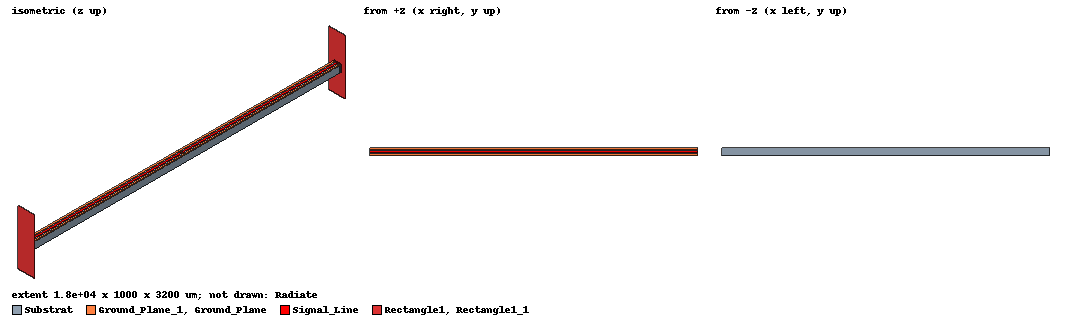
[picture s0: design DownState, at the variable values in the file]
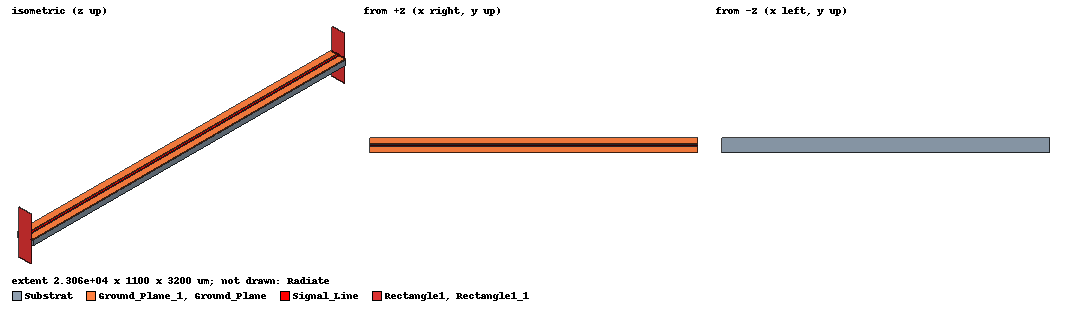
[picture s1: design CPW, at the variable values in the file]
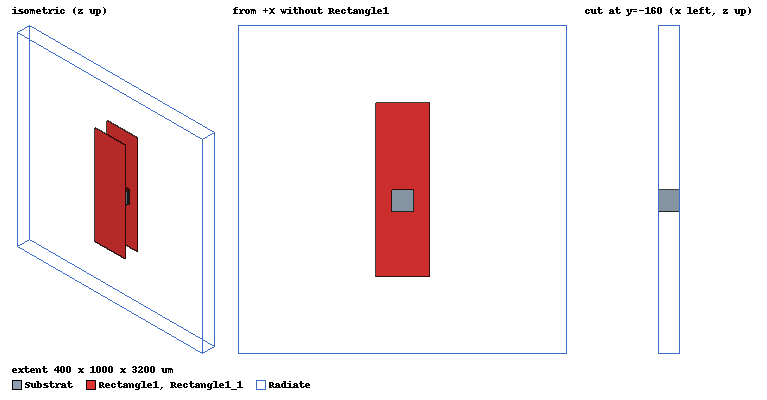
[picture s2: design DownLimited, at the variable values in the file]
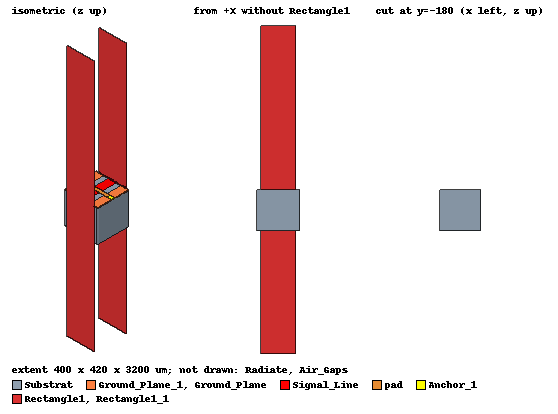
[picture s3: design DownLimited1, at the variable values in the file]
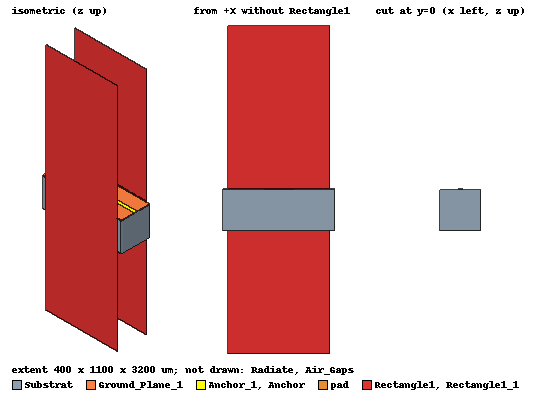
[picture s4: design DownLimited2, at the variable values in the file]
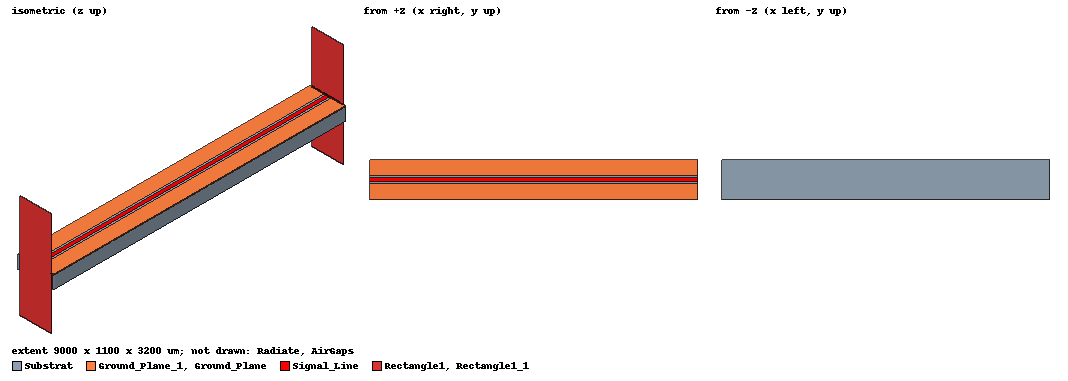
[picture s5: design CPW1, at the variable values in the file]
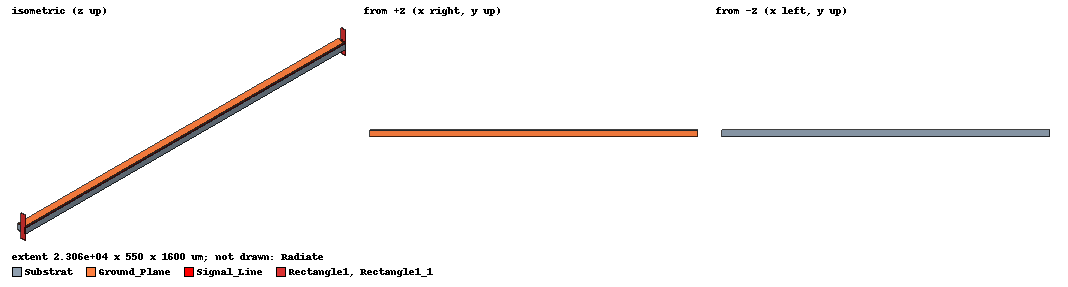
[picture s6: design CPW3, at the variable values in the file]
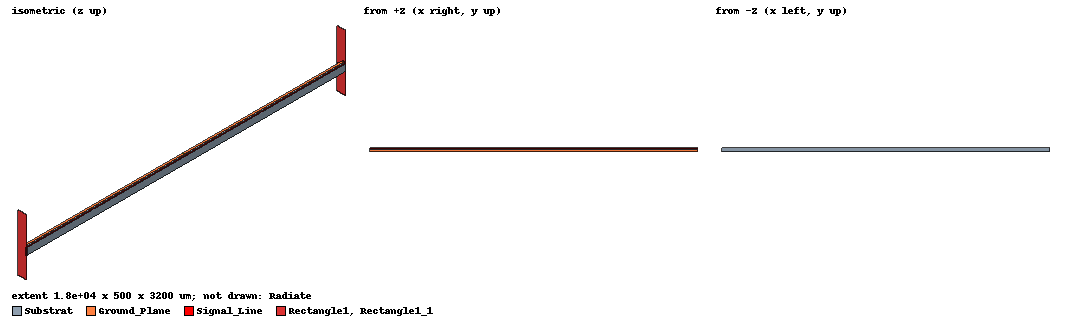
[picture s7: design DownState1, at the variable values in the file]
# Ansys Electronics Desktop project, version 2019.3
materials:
  vacuum: permittivity=1
  silicon: permittivity=11.9
  gold: permeability=0.99996 conductivity=41000000
  air: permittivity=1.0006 permeability=1.0000004
  silicon_nitrate: permittivity=7

design DownState (HFSS, DrivenModal, model units um)
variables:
  h_substrate = 400um
  L_membrane = 300um
  W_anchor = 60um
  W_membrane = 40um
  Anchor_offset = 40um
  Au_thickness = 2um
  W_signal_line = 100um
  g_0 = Dielectric_tickness
  t_membrane = 2um
  pay = Dielectric_tickness
  Dielectric_tickness = 150nm
  L_line = 18000um
  Model_Width = L_membrane+2*W_anchor
  w_pad = 40um
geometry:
  Substrat [silicon] = box(corner=(-L_line/2, -(L_membrane+2*W_anchor)/2, 0um), size=(L_line, (L_membrane+2*W_anchor), -h_substrate))
  Ground_Plane [gold] = box(corner=(-L_line/2, -(L_membrane+2*W_anchor)/2, 0um), size=(L_line, Anchor_offset+W_anchor, 2um))
  Ground_Plane_1 [gold] = Ground_Plane.duplicate_around_axis(axis=Z, angle=180deg, total=2)
  Signal_Line [gold] = box(corner=(-L_line/2, -W_signal_line/2, 0um), size=(L_line, W_signal_line, Au_thickness))
  Anchor [gold] = box(corner=(-W_membrane/2, -(L_membrane+2*W_anchor)/2, Au_thickness), size=(W_membrane, W_anchor, g_0+ t_membrane))
  Anchor_1 [gold] = Anchor.duplicate_around_axis(axis=Z, angle=180deg, total=2)
  membrane = box(corner=(-W_membrane/2, -L_membrane/2, g_0+t_membrane+Au_thickness), size=(W_membrane, L_membrane, -2um))
  Dielectric [silicon_nitrate] = box(corner=(-w_pad/2, -(W_signal_line/2+pay), Au_thickness+Dielectric_tickness), size=(w_pad, W_signal_line + 2*pay, -(Dielectric_tickness+Au_thickness)))
  Signal_Line_1 = Signal_Line.copy()
  Dielectric.subtract(Signal_Line_1)
  Rectangle1 = rectangle(corner=(L_line/2, -W_signal_line*5, -4*h_substrate), y_size=10*W_signal_line, z_size=8*h_substrate)
  Rectangle1_1 = Rectangle1.duplicate_around_axis(axis=Z, angle=180deg, total=2)
  Radiate [air] = box(corner=(-L_line/2, -3000um, 3000um), size=(L_line, 6000um, -6000um))
  pad [gold] = box(corner=(-w_pad/2, -W_signal_line/2, g_0+t_membrane+Au_thickness), size=(w_pad, W_signal_line, -t_membrane))
  pad.unite(membrane)
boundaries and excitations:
  OpenCircuit: Perfect H Faces=Radiate.face(+x, -x)
  Absorber: Radiation Faces=Radiate.face(-y, +z, +y, -z)
  P1: Wave Port Objects=Rectangle1 NumModes=1 RenormalizeAllTerminals=false Modes{Mode1{CharImp=Zpi}}
  P2: Wave Port Objects=Rectangle1_1 NumModes=1 Modes{Mode1{CharImp=Zpi}}
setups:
  Setup1: HfssDriven Frequency=26GHz MaxDeltaS=0.001 MaximumPasses=10 MinimumPasses=1 MinimumConvergedPasses=1 PercentRefinement=30 BasisOrder=1 PortAccuracy=2
    sweep Sweep: 20GHz to 90GHz, 20 points; Type=Interpolating InterpTolerance=0.5 InterpMaxSolns=250 InterpUsePortImped=false PassivityErrorTolerance=0.0001
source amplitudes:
  P1:1: 1W 0deg
  P2:1: 0W 0deg
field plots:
  Mag_Jsurf1: Jsurf over Signal_Line.face(all 6) on Setup1 : LastAdaptive at Freq=26GHz Phase=0deg
  Mag_E1: E Field in Radiate on Setup1 : LastAdaptive at Freq=26GHz Phase=0deg
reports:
  S Parameter Plot 1: dB(S(P2,P1)), re(Zo(P1)), GroupDelay(P2,P1) vs Freq on Setup1 : Sweep
  Group Delay Plot 1: ang_rad(GroupDelay(P2,P1)) vs Freq on Setup1 : Sweep

design CPW (HFSS, DrivenModal, model units um)
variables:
  h_substrate = 400um
  L_membrane = W_signal_line+2*(W_Gap+Anchor_offset)
  W_anchor = 400um
  Anchor_offset = 40um
  Au_thickness = 2um
  W_signal_line = 100um
  L_line = 2*Lambda
  Model_Width = L_membrane+2*W_anchor
  W_Gap = 60um
  Lambda = 11530479nm
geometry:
  Substrat [silicon] = box(corner=(-L_line/2, -(L_membrane+2*W_anchor)/2, 0um), size=(L_line, (L_membrane+2*W_anchor), -h_substrate))
  Ground_Plane [gold] = box(corner=(-L_line/2, -(L_membrane+2*W_anchor)/2, 0um), size=(L_line, Anchor_offset+W_anchor, 2um))
  Ground_Plane_1 [gold] = Ground_Plane.duplicate_around_axis(axis=Z, angle=180deg, total=2)
  Signal_Line [gold] = box(corner=(-L_line/2, -W_signal_line/2, 0um), size=(L_line, W_signal_line, Au_thickness))
  Rectangle1 = rectangle(corner=(L_line/2, -W_signal_line*5, -4*h_substrate), y_size=W_signal_line*10, z_size=8*h_substrate)
  Rectangle1_1 = Rectangle1.duplicate_around_axis(axis=Z, angle=180deg, total=2)
  Radiate [air] = box(corner=(-L_line/2, -Lambda/8, -Lambda/8), size=(L_line, Lambda/4, Lambda/4))
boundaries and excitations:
  Rad1: Radiation Faces=Radiate.face(+y, +z, -y, -z)
  PerfH1: Perfect H Faces=Radiate.face(+x, -x)
  P1: Wave Port Objects=Rectangle1 NumModes=1 RenormalizeAllTerminals=false Modes{Mode1{CharImp=Zpi}}
  P2: Wave Port Objects=Rectangle1_1 NumModes=1 Modes{Mode1{CharImp=Zpi}}
  reference conductors: Signal_Line, Ground_Plane, Ground_Plane_1
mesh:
  initial mesh: GlobalSurfApproximation{CurvedSurfaceApproxChoice=UseSlider SliderMeshSettings=6}
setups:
  Setup1: HfssDriven Frequency=26GHz MaxDeltaS=0.001 MaximumPasses=10 MinimumPasses=1 MinimumConvergedPasses=1 PercentRefinement=30 BasisOrder=1 PortAccuracy=2
    sweep Sweep: 13GHz to 39GHz, 20 points; Type=Interpolating InterpTolerance=0.5 InterpMaxSolns=250 InterpUsePortImped=false PassivityErrorTolerance=0.0001
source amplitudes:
  P1:1: 0 0deg
  P2:1: 1W 0deg
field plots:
  Mag_E1: E Field in Radiate on Setup1 : LastAdaptive at Freq=26GHz Phase=0deg
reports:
  Z Parameter Plot 1: mag(Z(P1,P2)) vs Freq on Setup1 : Sweep

design DownLimited (HFSS, DrivenModal, model units um)
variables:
  h_substrate = 400um
  L_membrane = 300um
  W_anchor = 60um
  W_membrane = 40um
  Anchor_offset = 40um
  Au_thickness = 2um
  W_signal_line = 100um
  g_0 = Dielectric_tickness
  t_membrane = 2um
  pay = Dielectric_tickness
  Dielectric_tickness = 150nm
  L_line = 400um
  Model_Width = L_membrane+2*W_anchor
  w_pad = 40um
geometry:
  Substrat [silicon] = box(corner=(-L_line/2, -(L_membrane+2*W_anchor)/2, 0um), size=(L_line, (L_membrane+2*W_anchor), -h_substrate))
  Ground_Plane [gold] = box(corner=(-L_line/2, -(L_membrane+2*W_anchor)/2, 0um), size=(L_line, Anchor_offset+W_anchor, 2um))
  Ground_Plane_1 [gold] = Ground_Plane.duplicate_around_axis(axis=Z, angle=180deg, total=2)
  Signal_Line [gold] = box(corner=(-L_line/2, -W_signal_line/2, 0um), size=(L_line, W_signal_line, Au_thickness))
  Anchor [gold] = box(corner=(-W_membrane/2, -(L_membrane+2*W_anchor)/2, Au_thickness), size=(W_membrane, W_anchor, g_0+ t_membrane))
  Anchor_1 [gold] = Anchor.duplicate_around_axis(axis=Z, angle=180deg, total=2)
  membrane = box(corner=(-W_membrane/2, -L_membrane/2, g_0+t_membrane+Au_thickness), size=(W_membrane, L_membrane, -2um))
  Dielectric [silicon_nitrate] = box(corner=(-w_pad/2, -(W_signal_line/2+pay), Au_thickness+Dielectric_tickness), size=(w_pad, W_signal_line + 2*pay, -(Dielectric_tickness+Au_thickness)))
  Signal_Line_1 = Signal_Line.copy()
  Dielectric.subtract(Signal_Line_1)
  Rectangle1 = rectangle(corner=(L_line/2, -W_signal_line*5, -4*h_substrate), y_size=10*W_signal_line, z_size=8*h_substrate)
  Rectangle1_1 = Rectangle1.duplicate_around_axis(axis=Z, angle=180deg, total=2)
  Radiate [air] = box(corner=(-L_line/2, -3000um, 3000um), size=(L_line, 6000um, -6000um))
  pad [gold] = box(corner=(-w_pad/2, -W_signal_line/2, g_0+t_membrane+Au_thickness), size=(w_pad, W_signal_line, -t_membrane))
  pad.unite(membrane)
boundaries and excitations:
  P1: Wave Port Objects=Rectangle1 NumModes=1 RenormalizeAllTerminals=false Modes{Mode1{CharImp=Zpi}}
  P2: Wave Port Objects=Rectangle1_1 NumModes=1 Modes{Mode1{CharImp=Zpi}}
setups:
  Setup1: HfssDriven Frequency=26GHz MaxDeltaS=0.001 MaximumPasses=10 MinimumPasses=1 MinimumConvergedPasses=1 PercentRefinement=30 BasisOrder=1 PortAccuracy=2
    sweep Sweep: 30GHz to 60GHz, 20 points; Type=Discrete
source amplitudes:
  P1:1: 1W 0deg
  P2:1: 0W 0deg
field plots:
  Mag_Jsurf1: Jsurf over Signal_Line.face(all 6) on Setup1 : LastAdaptive at Freq=26GHz Phase=0deg
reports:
  S Parameter Plot 1: cang_deg(S(P1,P2)) vs Freq on Setup1 : Sweep

design Upstate (HFSS, DrivenModal, model units um)
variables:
  h_substrate = 400um
  L_membrane = 300um
  W_anchor = 60um
  W_membrane = 40um
  Anchor_offset = 40um
  Au_thickness = 2um
  W_signal_line = 100um
  g_0 = Dielectric_tickness
  t_membrane = 2um
  pay = Dielectric_tickness
  Dielectric_tickness = 150nm
  L_line = 9000um
  Model_Width = L_membrane+2*W_anchor
  w_pad = 40um
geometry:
  Substrat [silicon] = box(corner=(-L_line/2, -(L_membrane+2*W_anchor)/2, 0um), size=(L_line, (L_membrane+2*W_anchor), -h_substrate))
  Ground_Plane [gold] = box(corner=(-L_line/2, -(L_membrane+2*W_anchor)/2, 0um), size=(L_line, Anchor_offset+W_anchor, 2um))
  Ground_Plane_1 [gold] = Ground_Plane.duplicate_around_axis(axis=Z, angle=180deg, total=2)
  Signal_Line [gold] = box(corner=(-L_line/2, -W_signal_line/2, 0um), size=(L_line, W_signal_line, Au_thickness))
  Anchor [gold] = box(corner=(-W_membrane/2, -(L_membrane+2*W_anchor)/2, Au_thickness), size=(W_membrane, W_anchor, g_0+ t_membrane+2u))
  Anchor_1 [gold] = Anchor.duplicate_around_axis(axis=Z, angle=180deg, total=2)
  membrane [gold] = box(corner=(-W_membrane/2, -L_membrane/2, g_0+t_membrane+Au_thickness+2um), size=(W_membrane, L_membrane, -2um))
  Dielectric [silicon_nitrate] = box(corner=(-w_pad/2, -(W_signal_line/2+pay), Au_thickness+Dielectric_tickness), size=(w_pad, W_signal_line + 2*pay, -(Dielectric_tickness+Au_thickness)))
  Signal_Line_1 = Signal_Line.copy()
  Dielectric.subtract(Signal_Line_1)
  Rectangle1 = rectangle(corner=(L_line/2, -W_signal_line*5, -4*h_substrate), y_size=10*W_signal_line, z_size=8*h_substrate)
  Rectangle1_1 = Rectangle1.duplicate_around_axis(axis=Z, angle=180deg, total=2)
  Radiate [air] = box(corner=(-L_line/2, -3000um, 3000um), size=(L_line, 6000um, -6000um))
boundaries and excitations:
  OpenCircuit: Perfect H Faces=Radiate.face(+x, -x)
  Absorber: Radiation Faces=Radiate.face(-y, +z, +y, -z)
  P1: Wave Port Objects=Rectangle1 NumModes=1 RenormalizeAllTerminals=false Modes{Mode1{CharImp=Zpi}}
  P2: Wave Port Objects=Rectangle1_1 NumModes=1 Modes{Mode1{CharImp=Zpi}}
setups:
  Setup1: HfssDriven Frequency=26GHz MaxDeltaS=0.001 MaximumPasses=10 MinimumPasses=1 MinimumConvergedPasses=1 PercentRefinement=30 BasisOrder=1 PortAccuracy=2
    sweep Sweep: 20GHz to 90GHz, 20 points; Type=Interpolating InterpTolerance=0.5 InterpMaxSolns=250 InterpUsePortImped=false PassivityErrorTolerance=0.0001
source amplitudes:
  P1:1: 1W 0deg
  P2:1: 0W 0deg
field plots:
  Mag_Jsurf1: Jsurf over Signal_Line.face(all 6) on Setup1 : LastAdaptive at Freq=26GHz Phase=0deg
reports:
  S Parameter Plot 1: dB(S(P2,P1)), re(Zo(P1)), GroupDelay(P2,P1) vs Freq on Setup1 : Sweep
  Group Delay Plot 1: ang_rad(GroupDelay(P2,P1)) vs Freq on Setup1 : Sweep

design DownLimited1 (HFSS, Transient Network, model units um)
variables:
  h_substrate = 400um
  L_membrane = 300um
  W_anchor = 60um
  W_membrane = 40um
  Anchor_offset = 40um
  Au_thickness = 2um
  W_signal_line = 100um
  g_0 = Dielectric_tickness
  t_membrane = 2um
  pay = Dielectric_tickness
  Dielectric_tickness = 150nm
  L_line = 400um
  Model_Width = L_membrane+2*W_anchor
  w_pad = 40um
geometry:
  Substrat [silicon] = box(corner=(-L_line/2, -(L_membrane+2*W_anchor)/2, 0um), size=(L_line, (L_membrane+2*W_anchor), -h_substrate))
  Ground_Plane [gold] = box(corner=(-L_line/2, -(L_membrane+2*W_anchor)/2, 0um), size=(L_line, Anchor_offset+W_anchor, 2um))
  Ground_Plane_1 [gold] = Ground_Plane.duplicate_around_axis(axis=Z, angle=180deg, total=2)
  Signal_Line [gold] = box(corner=(-L_line/2, -W_signal_line/2, 0um), size=(L_line, W_signal_line, Au_thickness))
  Anchor [gold] = box(corner=(-W_membrane/2, -(L_membrane+2*W_anchor)/2, Au_thickness), size=(W_membrane, W_anchor, g_0+ t_membrane))
  Anchor_1 [gold] = Anchor.duplicate_around_axis(axis=Z, angle=180deg, total=2)
  membrane = box(corner=(-W_membrane/2, -L_membrane/2, g_0+t_membrane+Au_thickness), size=(W_membrane, L_membrane, -2um))
  Dielectric [silicon_nitrate] = box(corner=(-w_pad/2, -(W_signal_line/2+pay), Au_thickness+Dielectric_tickness), size=(w_pad, W_signal_line + 2*pay, -(Dielectric_tickness+Au_thickness)))
  Signal_Line_1 = Signal_Line.copy()
  Dielectric.subtract(Signal_Line_1)
  Rectangle1 = rectangle(corner=(L_line/2, -W_signal_line*1.75, -4*h_substrate), y_size=3.5*W_signal_line, z_size=8*h_substrate)
  Rectangle1_1 = Rectangle1.duplicate_around_axis(axis=Z, angle=180deg, total=2)
  Radiate [air] = box(corner=(-L_line/2, -3000um, 3000um), size=(L_line, 6000um, -6000um))
  Air_Gaps [air] = box(corner=(-L_line/2, -Model_Width/2, 0um), size=(L_line, Model_Width, 6um))
  pad [gold] = box(corner=(-w_pad/2, -W_signal_line/2, g_0+t_membrane+Au_thickness), size=(w_pad, W_signal_line, -t_membrane))
  pad.unite(membrane)
  Anchor_3 = Anchor.copy()
  Anchor_1_2 = Anchor_1.copy()
  Dielectric_2 = Dielectric.copy()
  Ground_Plane_3 = Ground_Plane.copy()
  Ground_Plane_1_2 = Ground_Plane_1.copy()
  pad_1 = pad.copy()
  Signal_Line_3 = Signal_Line.copy()
  Air_Gaps.subtract(Anchor_3, Anchor_1_2, Dielectric_2, Ground_Plane_3, Ground_Plane_1_2, pad_1, Signal_Line_3)
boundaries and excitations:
  OpenCircuit: Perfect H Faces=Radiate.face(+x, -x)
  Absorber: Radiation Faces=Radiate.face(-y, +z, +y, -z)
  Signal_Line_T1: Terminal port=1 Faces=Signal_Line.face(+x) TerminalResistance=50ohm
  Signal_Line_T2: Terminal port=2 Faces=Signal_Line.face(-x) TerminalResistance=50ohm
  1: Wave Port Faces=Rectangle1.face(at (200, 0, 0)) NumModes=1
  2: Wave Port Faces=Rectangle1_1.face NumModes=1
  reference conductors: Ground_Plane, Ground_Plane_1
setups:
  Setup1: HfssTransient Frequency=5GHz MaxDeltaS=0.02 MaximumPasses=20 UseImplicitSolver BasisOrder=-1 Transient{TimeProfile="Broadband Pulse" HfssFrequency=5GHz MinFreq=100MHz MaxFreq=1GHz NumFreqsExtracted=401 SweepMinFreq=100MHz SweepMaxFreq=1GHz UseAutoTermination=1 SteadyStateCriteria=0.01 UseMinimumDuration=0 TerminateOnMaximum=0}
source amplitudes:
  1:1: 1V 0deg
  2:1: 0V 0deg
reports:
  Transient Plot 1: Input(Signal_Line_T1) vs Time on Setup1 : Transient
  Transient Plot 2: Output(Signal_Line_T1,Signal_Line_T2) vs Time on Setup1 : Transient

design DownLimited2 (HFSS, DrivenModal, model units um)
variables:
  h_substrate = 400um
  L_membrane = 300um
  W_anchor = 400um
  W_membrane = 40um
  Anchor_offset = 40um
  Au_thickness = 2um
  W_signal_line = 100um
  g_0 = Dielectric_tickness
  t_membrane = 2um
  pay = Dielectric_tickness
  Dielectric_tickness = 150nm
  L_line = 400um
  Model_Width = L_membrane+2*W_anchor
  w_pad = 40um
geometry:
  Substrat [silicon] = box(corner=(-L_line/2, -(L_membrane+2*W_anchor)/2, 0um), size=(L_line, (L_membrane+2*W_anchor), -h_substrate))
  Ground_Plane [gold] = box(corner=(-L_line/2, -(L_membrane+2*W_anchor)/2, 0um), size=(L_line, Anchor_offset+W_anchor, 2um))
  Ground_Plane_1 [gold] = Ground_Plane.duplicate_around_axis(axis=Z, angle=180deg, total=2)
  Signal_Line [gold] = box(corner=(-L_line/2, -W_signal_line/2, 0um), size=(L_line, W_signal_line, Au_thickness))
  Anchor [gold] = box(corner=(-W_membrane/2, -(L_membrane+2*W_anchor)/2, Au_thickness), size=(W_membrane, W_anchor, g_0+ t_membrane))
  Anchor_1 [gold] = Anchor.duplicate_around_axis(axis=Z, angle=180deg, total=2)
  membrane = box(corner=(-W_membrane/2, -L_membrane/2, g_0+t_membrane+Au_thickness), size=(W_membrane, L_membrane, -2um))
  Dielectric [silicon_nitrate] = box(corner=(-w_pad/2, -(W_signal_line/2+pay), Au_thickness+Dielectric_tickness), size=(w_pad, W_signal_line + 2*pay, -(Dielectric_tickness+Au_thickness)))
  Signal_Line_1 = Signal_Line.copy()
  Dielectric.subtract(Signal_Line_1)
  Rectangle1 = rectangle(corner=(L_line/2, -W_signal_line*5, -4*h_substrate-Au_thickness/2), y_size=10*W_signal_line, z_size=8*h_substrate)
  Rectangle1_1 = Rectangle1.duplicate_around_axis(axis=Z, angle=180deg, total=2)
  Radiate [air] = box(corner=(-L_line/2, -3000um, 3000um), size=(L_line, 6000um, -6000um))
  Air_Gaps [air] = box(corner=(-L_line/2, -Model_Width/2, 0um), size=(L_line, Model_Width, 6um))
  pad [gold] = box(corner=(-w_pad/2, -W_signal_line/2, g_0+t_membrane+Au_thickness), size=(w_pad, W_signal_line, -t_membrane))
  pad.unite(membrane)
  Anchor_3 = Anchor.copy()
  Anchor_1_2 = Anchor_1.copy()
  Dielectric_2 = Dielectric.copy()
  Ground_Plane_3 = Ground_Plane.copy()
  Ground_Plane_1_2 = Ground_Plane_1.copy()
  pad_1 = pad.copy()
  Signal_Line_3 = Signal_Line.copy()
  Air_Gaps.subtract(Anchor_3, Anchor_1_2, Dielectric_2, Ground_Plane_3, Ground_Plane_1_2, pad_1, Signal_Line_3)
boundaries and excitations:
  OpenCircuit: Perfect H Faces=Radiate.face(+x, -x)
  Absorber: Radiation Faces=Radiate.face(-y, +z, +y, -z)
  1: Wave Port Objects=Rectangle1 NumModes=1 Modes{Mode1{CharImp=Zpi}}
  2: Wave Port Objects=Rectangle1_1 NumModes=1 Modes{Mode1{CharImp=Zpi}}
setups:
  Setup1: HfssDriven Frequency=45GHz MaxDeltaS=0.001 MaximumPasses=10 MinimumPasses=1 MinimumConvergedPasses=1 PercentRefinement=30 BasisOrder=1 PortAccuracy=2
    sweep Sweep: 1GHz to 50GHz step 1GHz; Type=Interpolating InterpTolerance=0.5 InterpMaxSolns=250 InterpUsePortImped=false PassivityErrorTolerance=0.0001
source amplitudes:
  1:1: 1W 0deg
  2:1: 0W 0deg
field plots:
  Mag_Jsurf1: Jsurf over Signal_Line.face(all 6) on Setup1 : LastAdaptive at Freq=45GHz Phase=0deg
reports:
  S Parameter Plot 1: dB(S(2,1)) vs Freq on Setup1 : Sweep
  S Parameter Plot 2: dB(S(1,2)) vs Freq on Setup1 : Sweep

design CPW1 (HFSS, Transient Network, model units um)
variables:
  h_substrate = 400um
  L_membrane = W_signal_line+2*(W_Gap+Anchor_offset)
  W_anchor = 400um
  Anchor_offset = 40um
  Au_thickness = 2um
  W_signal_line = 100um
  L_line = 9000um
  Model_Width = L_membrane+2*W_anchor
  W_Gap = 60um
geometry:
  Substrat [silicon] = box(corner=(-L_line/2, -(L_membrane+2*W_anchor)/2, 0um), size=(L_line, (L_membrane+2*W_anchor), -h_substrate))
  Ground_Plane [gold] = box(corner=(-L_line/2, -(L_membrane+2*W_anchor)/2, 0um), size=(L_line, Anchor_offset+W_anchor, 2um))
  Ground_Plane_1 [gold] = Ground_Plane.duplicate_around_axis(axis=Z, angle=180deg, total=2)
  Signal_Line [gold] = box(corner=(-L_line/2, -W_signal_line/2, 0um), size=(L_line, W_signal_line, Au_thickness))
  Rectangle1 = rectangle(corner=(L_line/2, -W_signal_line*5, -4*h_substrate), y_size=W_signal_line*10, z_size=8*h_substrate)
  Rectangle1_1 = Rectangle1.duplicate_around_axis(axis=Z, angle=180deg, total=2)
  Radiate [air] = box(corner=(-L_line/2, -3000um, 3000um), size=(L_line, 6000um, -6000um))
  AirGaps [air] = box(corner=(-L_line/2, -Model_Width/2, 0um), size=(L_line, Model_Width, 6um))
  Ground_Plane_2 = Ground_Plane.copy()
  Ground_Plane_1_1 = Ground_Plane_1.copy()
  Signal_Line_1 = Signal_Line.copy()
  AirGaps.subtract(Ground_Plane_2, Ground_Plane_1_1, Signal_Line_1)
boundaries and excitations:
  Rad1: Radiation Faces=Radiate.face(+y, +z, -y, -z)
  PerfH1: Perfect H Faces=Radiate.face(+x, -x)
  Signal_Line_T1: Terminal port=P1 Faces=Signal_Line.face(+x) TerminalResistance=50ohm
  Signal_Line_T2: Terminal port=P2 Faces=Signal_Line.face(-x) TerminalResistance=50ohm
  P1: Wave Port Objects=Rectangle1 NumModes=1 RenormalizeAllTerminals=false
  P2: Wave Port Objects=Rectangle1_1 NumModes=1
  reference conductors: Signal_Line, Ground_Plane, Ground_Plane_1
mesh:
  initial mesh: GlobalSurfApproximation{CurvedSurfaceApproxChoice=UseSlider SliderMeshSettings=6}
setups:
  Setup1: HfssTransient Frequency=5GHz MaxDeltaS=0.02 MaximumPasses=8 BasisOrder=-1 Transient{TimeProfile="Broadband Pulse" HfssFrequency=5GHz MinFreq=500MHz MaxFreq=36GHz NumFreqsExtracted=401 SweepMinFreq=10GHz SweepMaxFreq=36GHz UseAutoTermination=1 SteadyStateCriteria=0.01 UseMinimumDuration=0 TerminateOnMaximum=0}
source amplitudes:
  P1:1: 1V 0deg
  P2:1: 0V 0deg
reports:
  Transient Plot 1: Input(Signal_Line_T1), Output(Signal_Line_T1,Signal_Line_T2) vs Time on Setup1 : Transient; markers m1 at 0.065608466ns, m2 at 0.13544974ns

design CPW3 (HFSS, DrivenModal, model units um)
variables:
  h_substrate = 400um
  L_membrane = W_signal_line+2*(W_Gap+Anchor_offset)
  W_anchor = 400um
  Anchor_offset = 40um
  Au_thickness = 2um
  W_signal_line = 100um
  L_line = 2*Lambda
  Model_Width = L_membrane+2*W_anchor
  W_Gap = 60um
  Lambda = 11530479nm
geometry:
  Substrat [silicon] = box(corner=(-L_line/2, -(L_membrane+2*W_anchor)/2, 0um), size=(L_line, (L_membrane+2*W_anchor), -h_substrate))
  Ground_Plane [gold] = box(corner=(-L_line/2, -(L_membrane+2*W_anchor)/2, 0um), size=(L_line, Anchor_offset+W_anchor, 2um))
  Signal_Line [gold] = box(corner=(-L_line/2, -W_signal_line/2, 0um), size=(L_line, W_signal_line, Au_thickness))
  Rectangle1 = rectangle(corner=(L_line/2, -3*(W_signal_line+2*W_Gap)/2, -2*h_substrate), y_size=3*(W_signal_line+2*W_Gap), z_size=4*h_substrate)
  Rectangle1_1 = Rectangle1.duplicate_around_axis(axis=Z, angle=180deg, total=2)
  Radiate [air] = box(corner=(-L_line/2, -Lambda/8, -Lambda/8), size=(L_line, Lambda/4, Lambda/4))
  [Substrat, Ground_Plane, Signal_Line, Rectangle1, Rectangle1_1, Radiate].split(plane=ZX, keep=NegativeOnly)
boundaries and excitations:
  Rad1: Radiation Faces=Radiate.face(+z, -y, -z)
  PerfH1: Perfect H Faces=Radiate.face(+x, -x)
  Sym1: Symmetry Faces=Radiate.face(at (0, 0, 0)) IsPerfectE=false
  P1: Wave Port Objects=Rectangle1 NumModes=1 RenormalizeAllTerminals=false Modes{Mode1{CharImp=Zpi}}
  P2: Wave Port Objects=Rectangle1_1 NumModes=1 Modes{Mode1{CharImp=Zpi}}
  reference conductors: Signal_Line, Ground_Plane
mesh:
  initial mesh: GlobalSurfApproximation{CurvedSurfaceApproxChoice=UseSlider SliderMeshSettings=6}
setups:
  Setup1: HfssDriven Frequency=26GHz MaxDeltaS=0.001 MaximumPasses=10 MinimumPasses=1 MinimumConvergedPasses=1 PercentRefinement=30 BasisOrder=1 PortAccuracy=2
    sweep Sweep: 1GHz to 40GHz, 50 points; Type=Interpolating InterpTolerance=0.5 InterpMaxSolns=250 InterpUsePortImped=false PassivityErrorTolerance=0.0001
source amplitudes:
  P1:1: 1W 0deg
  P2:1: 0W 0deg
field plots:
  Mag_E1: E Field in Radiate on Setup1 : LastAdaptive at Freq=26GHz Phase=0deg
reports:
  Z Parameter Plot 1: mag(Z(P1,P1)) vs Freq on Setup1 : Sweep

design DownState1 (HFSS, DrivenModal, model units um)
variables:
  h_substrate = 400um
  L_membrane = 300um
  W_anchor = 60um
  W_membrane = 40um
  Anchor_offset = 40um
  Au_thickness = 2um
  W_signal_line = 100um
  g_0 = Dielectric_tickness
  t_membrane = 2um
  pay = Dielectric_tickness
  Dielectric_tickness = 150nm
  L_line = 18000um
  Model_Width = L_membrane+2*W_anchor
  w_pad = 40um
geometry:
  Substrat [silicon] = box(corner=(-L_line/2, -(L_membrane+2*W_anchor)/2, 0um), size=(L_line, (L_membrane+2*W_anchor), -h_substrate))
  Ground_Plane [gold] = box(corner=(-L_line/2, -(L_membrane+2*W_anchor)/2, 0um), size=(L_line, Anchor_offset+W_anchor, 2um))
  Signal_Line [gold] = box(corner=(-L_line/2, -W_signal_line/2, 0um), size=(L_line, W_signal_line, Au_thickness))
  Anchor [gold] = box(corner=(-W_membrane/2, -(L_membrane+2*W_anchor)/2, Au_thickness), size=(W_membrane, W_anchor, g_0+ t_membrane))
  membrane = box(corner=(-W_membrane/2, -L_membrane/2, g_0+t_membrane+Au_thickness), size=(W_membrane, L_membrane, -2um))
  Dielectric [silicon_nitrate] = box(corner=(-w_pad/2, -(W_signal_line/2+pay), Au_thickness+Dielectric_tickness), size=(w_pad, W_signal_line + 2*pay, -(Dielectric_tickness+Au_thickness)))
  Signal_Line_1 = Signal_Line.copy()
  Dielectric.subtract(Signal_Line_1)
  Rectangle1 = rectangle(corner=(L_line/2, -W_signal_line*5, -4*h_substrate), y_size=10*W_signal_line, z_size=8*h_substrate)
  Rectangle1_1 = Rectangle1.duplicate_around_axis(axis=Z, angle=180deg, total=2)
  Radiate [air] = box(corner=(-L_line/2, -3000um, 3000um), size=(L_line, 6000um, -6000um))
  pad [gold] = box(corner=(-w_pad/2, -W_signal_line/2, g_0+t_membrane+Au_thickness), size=(w_pad, W_signal_line, -t_membrane))
  pad.unite(membrane)
  [Substrat, Ground_Plane, Signal_Line, Anchor, Dielectric, Rectangle1, Rectangle1_1, Radiate, pad].split(plane=ZX, keep=NegativeOnly)
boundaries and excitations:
  OpenCircuit: Perfect H Faces=Radiate.face(+x, -x)
  Absorber: Radiation Faces=Radiate.face(-y, +z, -z)
  Sym1: Symmetry Faces=Radiate.face(at (0, 0, 0)) IsPerfectE=false
  P1: Wave Port Objects=Rectangle1 NumModes=1 RenormalizeAllTerminals=false Modes{Mode1{CharImp=Zpi}}
  P2: Wave Port Objects=Rectangle1_1 NumModes=1 Modes{Mode1{CharImp=Zpi}}
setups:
  Setup1: HfssDriven Frequency=26GHz MaxDeltaS=0.001 MaximumPasses=10 MinimumPasses=1 MinimumConvergedPasses=1 PercentRefinement=30 BasisOrder=1 PortAccuracy=2
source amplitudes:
  P1:1: 1W 0deg
  P2:1: 0W 0deg
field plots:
  Mag_Jsurf1: Jsurf over Signal_Line.face(+z, -z, -y, -x, +x) on Setup1 : LastAdaptive at Freq=26GHz Phase=0deg
  Mag_E1: E Field in Radiate on Setup1 : LastAdaptive at Freq=26GHz Phase=0deg
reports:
  S Parameter Plot 1: dB(S(P1,P1)) vs Freq on Setup1 : LastAdaptive
